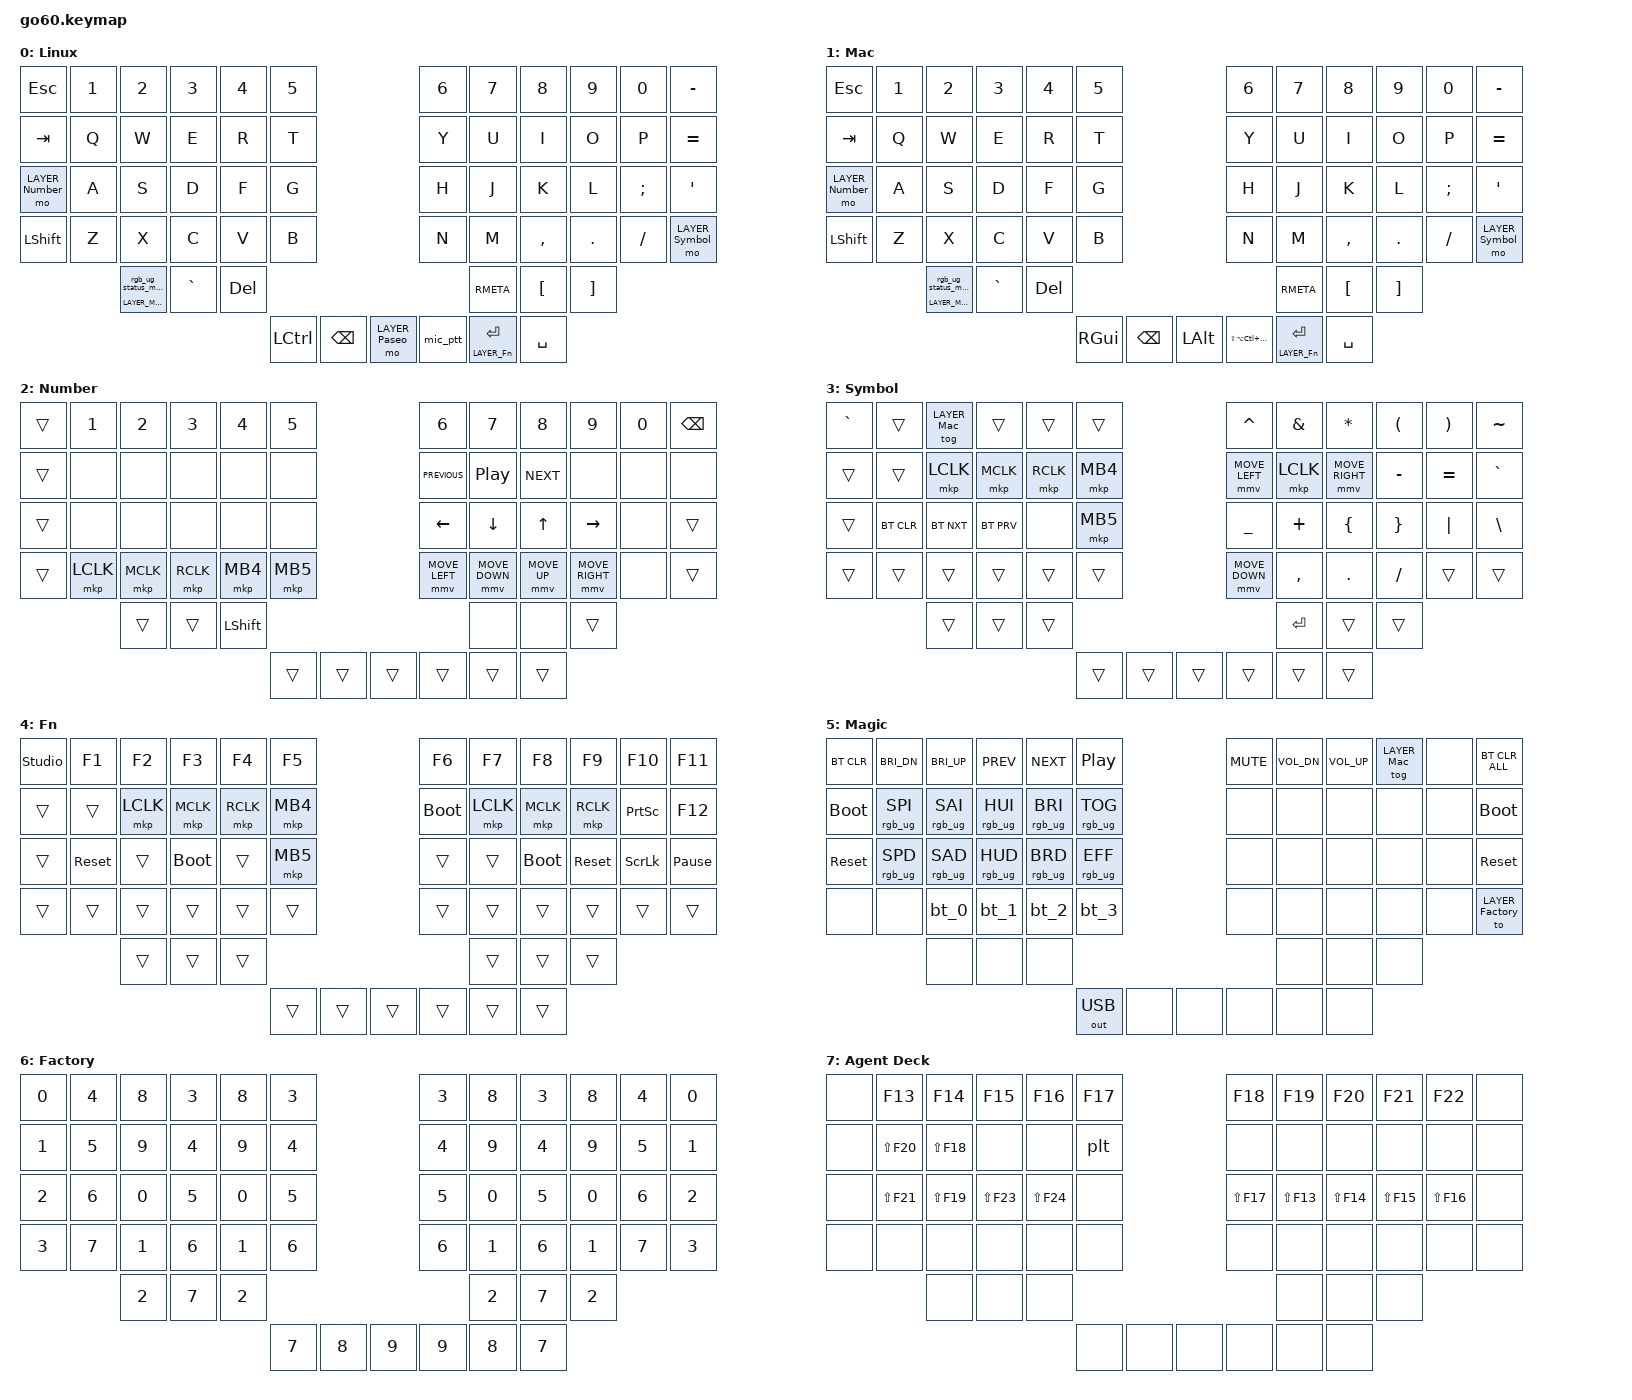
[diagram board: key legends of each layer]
/*
 * Starting Go60 port of the Eyelash Corne layout.
 * SPDX-License-Identifier: MIT
 */

#include <dt-bindings/zmk/mouse.h>
#include <dt-bindings/zmk/input_transform.h>
#include <input/processors.dtsi>
#include <zephyr/dt-bindings/input/input-event-codes.h>
#include <behaviors.dtsi>
#include <dt-bindings/zmk/bt.h>
#include <dt-bindings/zmk/keys.h>
#include <dt-bindings/zmk/outputs.h>
#include <dt-bindings/zmk/pointing.h>
#include <dt-bindings/zmk/rgb.h>

#define LAYER_Linux 0
#define LAYER_Mac 1
#define LAYER_Number 2
#define LAYER_Symbol 3
#define LAYER_Fn 4
#define LAYER_Magic 5
#define LAYER_Factory 6
#define LAYER_Paseo 7
#define VOICE_SHORTCUT LS(LA(LC(LG(F16))))
#define VOICE_TOGGLE_SHORTCUT LC(LG(LA(LS(F5))))
#define ZMK_MOUSE_DEFAULT_MOVE_VAL 1200
#define ZMK_MOUSE_DEFAULT_SCRL_VAL 20

/ {
    input_processors {
        zip_click_to_right_click_mapper: zip_click_to_right_click_mapper {
            compatible = "zmk,input-processor-code-mapper";
            #input-processor-cells = <0>;
            type = <INPUT_EV_KEY>;
            map = <INPUT_BTN_0 INPUT_BTN_1>;
        };
    };

    behaviors {
        magic: magic {
            compatible = "zmk,behavior-hold-tap";
            #binding-cells = <2>;
            flavor = "tap-preferred";
            tapping-term-ms = <200>;
            bindings = <&mo>, <&rgb_ug_status_macro>;
        };

        td_shift_caps: td_shift_caps {
            compatible = "zmk,behavior-tap-dance";
            display-name = "Shift/Caps Lock Tap Dance";
            #binding-cells = <0>;
            tapping-term-ms = <200>;
            bindings = <&kp LSHFT>, <&kp CAPS>;
        };

        bt_0: bt_0 {
            compatible = "zmk,behavior-tap-dance";
            #binding-cells = <0>;
            tapping-term-ms = <200>;
            bindings = <&bt_select_0>, <&bt BT_DISC 0>;
        };

        bt_1: bt_1 {
            compatible = "zmk,behavior-tap-dance";
            #binding-cells = <0>;
            tapping-term-ms = <200>;
            bindings = <&bt_select_1>, <&bt BT_DISC 1>;
        };

        bt_2: bt_2 {
            compatible = "zmk,behavior-tap-dance";
            #binding-cells = <0>;
            tapping-term-ms = <200>;
            bindings = <&bt_select_2>, <&bt BT_DISC 2>;
        };

        bt_3: bt_3 {
            compatible = "zmk,behavior-tap-dance";
            #binding-cells = <0>;
            tapping-term-ms = <200>;
            bindings = <&bt_select_3>, <&bt BT_DISC 3>;
        };

        // Paseo LEDs spike (config/paseo-leds): global-locality behavior the
        // central uses to push right-half number-row pixels to the
        // peripheral. Not bound in any layer -- invoked directly from C via
        // zmk_behavior_invoke_binding(). Node label kept <=8 chars: it's
        // sent over the split link as a behavior_dev string.
        pled: pled {
            compatible = "paseo,leds-invoke";
            #binding-cells = <2>;
        };

        // Paseo LEDs spike (config/paseo-leds): global Paseo-mode toggle,
        // bound directly below as &plt. Global locality so both halves
        // flip in lockstep. Node label kept <=8 chars, same reason as
        // `pled` above.
        plt: plt {
            compatible = "paseo,leds-toggle";
            #binding-cells = <0>;
        };

        micled: micled {
            compatible = "paseo,leds-mic";
            #binding-cells = <0>;
        };
    };

    // Paseo LEDs spike (config/paseo-leds): WS2812 strip indices for the
    // number row and home-row action keys, derived from go60_lh.dts's
    // underglow_indicators comment (left half) and a best-effort mirror of
    // that pattern (right half -- unverified, see
    // config/paseo-leds/src/paseo_leds.c for the full derivation).
    // left-number-row-indices / right-number-row-indices are
    // HARDWARE-VERIFIED -- do not change. left-extra-indices (order: F D)
    // and right-extra-indices (order: Y U J K L SEMI) extend the same
    // grid; correct the right-half array after on-hardware testing if the
    // wrong keys light up (see paseo_leds.c's derivation comment).
    paseo_leds: paseo-leds {
        compatible = "paseo,leds";
        left-number-row-indices = <22 17 12 7 3>;
        right-number-row-indices = <3 7 12 17 22>;
        left-extra-indices = <9 14>;
        right-extra-indices = <4 8 9 14 19 24>;
        right-mic-index = <2>;
    };

    macros {
        rgb_ug_status_macro: rgb_ug_status_macro {
            compatible = "zmk,behavior-macro";
            #binding-cells = <0>;
            bindings = <&rgb_ug RGB_STATUS>;
        };

        bt_select_0: bt_select_0 {
            compatible = "zmk,behavior-macro";
            #binding-cells = <0>;
            bindings = <&out OUT_BLE &bt BT_SEL 0>;
        };

        bt_select_1: bt_select_1 {
            compatible = "zmk,behavior-macro";
            #binding-cells = <0>;
            bindings = <&out OUT_BLE &bt BT_SEL 1>;
        };

        bt_select_2: bt_select_2 {
            compatible = "zmk,behavior-macro";
            #binding-cells = <0>;
            bindings = <&out OUT_BLE &bt BT_SEL 2>;
        };

        bt_select_3: bt_select_3 {
            compatible = "zmk,behavior-macro";
            #binding-cells = <0>;
            bindings = <&out OUT_BLE &bt BT_SEL 3>;
        };

        // Emit one complete shortcut per physical press. Hyprwhspr owns the
        // recording state; bb-led-bridge mirrors that state back to the mic
        // LED over GATT instead of tying the light to the physical hold.
        mic_ptt: mic_ptt {
            compatible = "zmk,behavior-macro";
            #binding-cells = <0>;
            wait-ms = <0>;
            tap-ms = <20>;
            bindings = <&macro_tap &kp VOICE_TOGGLE_SHORTCUT>;
        };
    };

    combos {
        compatible = "zmk,combos";

        macwin {
            bindings = <&tog LAYER_Mac>;
            key-positions = <49 55>;
        };
    };

    keymap {
        compatible = "zmk,keymap";

        linux {
            display-name = "Linux";
            bindings = <
&kp ESCAPE        &kp N1  &kp N2                &kp N3     &kp N4   &kp N5                                                                                     &kp N6  &kp N7     &kp N8     &kp N9    &kp N0    &kp MINUS
&kp TAB           &kp Q   &kp W                 &kp E      &kp R    &kp T                                                                                      &kp Y   &kp U      &kp I      &kp O     &kp P     &kp EQUAL
&mo LAYER_Number  &kp A   &kp S                 &kp D      &kp F    &kp G                                                                                      &kp H   &kp J      &kp K      &kp L     &kp SEMI  &kp SQT
&kp LSHFT         &kp Z   &kp X                 &kp C      &kp V    &kp B                                                                                      &kp N   &kp M      &kp COMMA  &kp DOT   &kp FSLH  &mo LAYER_Symbol
                          &magic LAYER_Magic 0  &kp GRAVE  &kp DEL                                                                                                     &kp RMETA  &kp LBKT   &kp RBKT
                                                                            &kp LCTRL  &kp BSPC  &mo LAYER_Paseo  &mic_ptt  &lt LAYER_Fn ENTER  &kp SPACE
            >;
        };

        mac {
            display-name = "Mac";
            bindings = <
&kp ESCAPE        &kp N1  &kp N2                &kp N3     &kp N4   &kp N5                                                                          &kp N6  &kp N7              &kp N8     &kp N9    &kp N0    &kp MINUS
&kp TAB           &kp Q   &kp W                 &kp E      &kp R    &kp T                                                                           &kp Y   &kp U               &kp I      &kp O     &kp P     &kp EQUAL
&mo LAYER_Number  &kp A   &kp S                 &kp D      &kp F    &kp G                                                                           &kp H   &kp J               &kp K      &kp L     &kp SEMI  &kp SQT
&kp LSHFT         &kp Z   &kp X                 &kp C      &kp V    &kp B                                                                           &kp N   &kp M               &kp COMMA  &kp DOT   &kp FSLH  &mo LAYER_Symbol
                          &magic LAYER_Magic 0  &kp GRAVE  &kp DEL                                                                                          &kp RMETA  &kp LBKT   &kp RBKT
                                                                            &kp RGUI   &kp BSPC  &kp LALT  &kp VOICE_SHORTCUT  &lt LAYER_Fn ENTER  &kp SPACE
            >;
        };

        number {
            display-name = "Number";
            bindings = <
&trans  &kp N1     &kp N2     &kp N3     &kp N4     &kp N5                                                    &kp N6          &kp N7          &kp N8        &kp N9           &kp N0  &kp BSPC
&trans  &none      &none      &none      &none      &none                                                     &kp C_PREVIOUS  &kp C_PP        &kp C_NEXT    &none            &none   &none
&trans  &none      &none      &none      &none      &none                                                     &kp LEFT_ARROW  &kp DOWN        &kp UP_ARROW  &kp RIGHT        &none   &trans
&trans  &mkp LCLK  &mkp MCLK  &mkp RCLK  &mkp MB4   &mkp MB5                                                  &mmv MOVE_LEFT  &mmv MOVE_DOWN  &mmv MOVE_UP  &mmv MOVE_RIGHT  &none   &trans
                   &trans     &trans     &kp LSHFT                                                                            &none           &none         &trans
                                                              &trans  &trans  &trans  &trans  &trans  &trans
            >;
        };

        symbol {
            display-name = "Symbol";
            bindings = <
&kp GRAVE  &trans      &tog LAYER_Mac  &trans      &trans     &trans                                                    &kp CARET       &kp AMPS   &kp ASTRK        &kp LPAR   &kp RPAR   &kp TILDE
&trans     &trans      &mkp LCLK       &mkp MCLK   &mkp RCLK  &mkp MB4                                                  &mmv MOVE_LEFT  &mkp LCLK  &mmv MOVE_RIGHT  &kp MINUS  &kp EQUAL  &kp GRAVE
&trans     &bt BT_CLR  &bt BT_NXT      &bt BT_PRV  &none      &mkp MB5                                                  &kp UNDER       &kp PLUS   &kp LBRC         &kp RBRC   &kp PIPE   &kp BSLH
&trans     &trans      &trans          &trans      &trans     &trans                                                    &mmv MOVE_DOWN  &kp COMMA  &kp DOT          &kp FSLH   &trans     &trans
                       &trans          &trans      &trans                                                                               &kp RET    &trans           &trans
                                                                        &trans  &trans  &trans  &trans  &trans  &trans
            >;
        };

        fn {
            display-name = "Fn";
            bindings = <
&studio_unlock  &kp F1      &kp F2     &kp F3       &kp F4     &kp F5                                                    &kp F6       &kp F7     &kp F8       &kp F9      &kp F10         &kp F11
&trans          &trans      &mkp LCLK  &mkp MCLK    &mkp RCLK  &mkp MB4                                                  &bootloader  &mkp LCLK  &mkp MCLK    &mkp RCLK   &kp PSCRN       &kp F12
&trans          &sys_reset  &trans     &bootloader  &trans     &mkp MB5                                                  &trans       &trans     &bootloader  &sys_reset  &kp SCROLLLOCK  &kp PAUSE_BREAK
&trans          &trans      &trans     &trans       &trans     &trans                                                    &trans       &trans     &trans       &trans      &trans          &trans
                            &trans     &trans       &trans                                                                            &trans     &trans       &trans
                                                                         &trans  &trans  &trans  &trans  &trans  &trans
            >;
        };

        magic_layer {
            display-name = "Magic";
            bindings = <
&bt BT_CLR   &kp C_BRI_DN     &kp C_BRI_UP     &kp C_PREV       &kp C_NEXT       &kp C_PP                                                   &kp C_MUTE  &kp C_VOL_DN  &kp C_VOL_UP  &tog LAYER_Mac  &none  &bt BT_CLR_ALL
&bootloader  &rgb_ug RGB_SPI  &rgb_ug RGB_SAI  &rgb_ug RGB_HUI  &rgb_ug RGB_BRI  &rgb_ug RGB_TOG                                            &none       &none         &none         &none           &none  &bootloader
&sys_reset   &rgb_ug RGB_SPD  &rgb_ug RGB_SAD  &rgb_ug RGB_HUD  &rgb_ug RGB_BRD  &rgb_ug RGB_EFF                                            &none       &none         &none         &none           &none  &sys_reset
&none        &none            &bt_0            &bt_1            &bt_2            &bt_3                                                      &none       &none         &none         &none           &none  &to LAYER_Factory
                              &none            &none            &none                                                                                   &none         &none         &none
                                                                                                  &out OUT_USB  &none  &none  &none  &none  &none
            >;
        };

        factory {
            display-name = "Factory";
            bindings = <
&kp N0  &kp N4  &kp N8  &kp N3  &kp N8  &kp N3                                                  &kp N3  &kp N8  &kp N3  &kp N8  &kp N4  &kp N0
&kp N1  &kp N5  &kp N9  &kp N4  &kp N9  &kp N4                                                  &kp N4  &kp N9  &kp N4  &kp N9  &kp N5  &kp N1
&kp N2  &kp N6  &kp N0  &kp N5  &kp N0  &kp N5                                                  &kp N5  &kp N0  &kp N5  &kp N0  &kp N6  &kp N2
&kp N3  &kp N7  &kp N1  &kp N6  &kp N1  &kp N6                                                  &kp N6  &kp N1  &kp N6  &kp N1  &kp N7  &kp N3
                &kp N2  &kp N7  &kp N2                                                                  &kp N2  &kp N7  &kp N2
                                                &kp N7  &kp N8  &kp N9  &kp N9  &kp N8  &kp N7
            >;
        };

        paseo {
            display-name = "Agent Deck";
            // Held via the left thumb key on the Linux layer. Emits F13-F24
            // for the host bridge (bb-deck on Omarchy; AutoHotkey on Windows):
            //   1-0        -> F13-F22   jump to pinned agent slots 1-10
            //   Y / U      -> unassigned (bb interactions are usually free text)
            //   D          -> Shift+F23 focus the agent composer
            //   H          -> Shift+F17 usage-bar hotkey for the host bridge
            //   J/K/L/;    -> Shift+F13/F14/F15/F16  commit/push/pr/merge
            //   F          -> Shift+F24 focus the agent app window
            //   T          -> &plt      toggle host-driven LEDs (both halves)
            //   W / S      -> Shift+F18/F19  thinking effort up / down
            //   Q / A      -> Shift+F20/F21  mode up (toward bypass) / down (toward plan)
            bindings = <
&none  &kp F13      &kp F14      &kp F15  &kp F16      &kp F17                                            &kp F18      &kp F19      &kp F20      &kp F21      &kp F22  &none
&none  &kp LS(F20)  &kp LS(F18)  &none    &none        &plt                                               &none        &none        &none        &none        &none    &none
&none  &kp LS(F21)  &kp LS(F19)  &kp LS(F23) &kp LS(F24)  &none                                             &kp LS(F17)  &kp LS(F13)  &kp LS(F14)  &kp LS(F15)  &kp LS(F16)  &none
&none  &none    &none    &none    &none        &none                                                      &none        &none        &none        &none        &none    &none
                &none    &none    &none                                                                                &none        &none        &none
                                                            &none  &none  &none  &none  &none  &none
            >;
        };
    };
};

&cirque_rh_listener {
    input-processors = <&zip_xy_scaler 3 1>;

    layer_3 {
        layers = <LAYER_Symbol>;
        input-processors = <&zip_xy_scaler 9 1>;
    };
};

&cirque_lh_listener {
    input-processors =
        <&zip_xy_to_scroll_mapper>,
        <&zip_xy_scaler 1 8>,
        <&zip_click_to_right_click_mapper>;

    layer_6 {
        layers = <LAYER_Factory>;
        input-processors = <&zip_xy_scaler 3 1>;
    };
};
